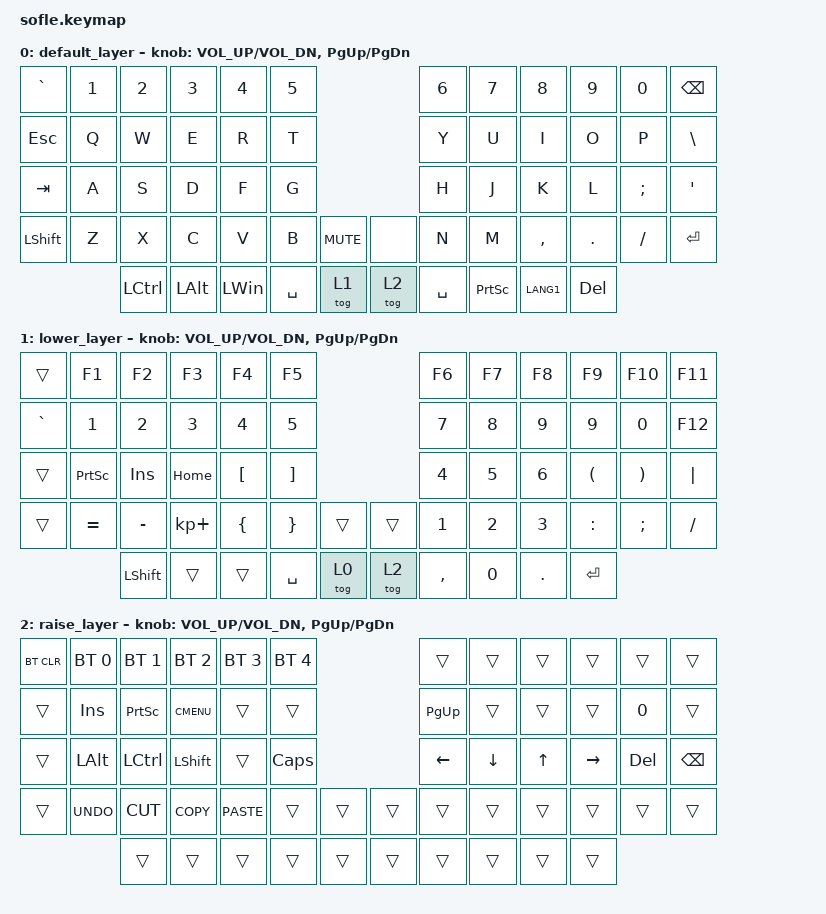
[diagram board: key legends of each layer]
/*
 * Copyright (c) 2020 The ZMK Contributors
 *
 * SPDX-License-Identifier: MIT
 */

#include <behaviors.dtsi>
#include <dt-bindings/zmk/bt.h>
#include <dt-bindings/zmk/keys.h>

/ {
    keymap {
        compatible = "zmk,keymap";

        default_layer {
            // ------------------------------------------------------------------------------------------------------------
            // |  `    |  1  |  2  |  3   |  4   |  5   |                   |  6   |  7    |  8    |  9   |   0   |       |
            // |  ESC  |  Q  |  W  |  E   |  R   |  T   |                   |  Y   |  U    |  I    |  O   |   P   | BKSPC |
            // |  TAB  |  A  |  S  |  D   |  F   |  G   |                   |  H   |  J    |  K    |  L   |   ;   |   '   |
            // | SHIFT |  Z  |  X  |  C   |  V   |  B   |  MUTE  |  |       |  N   |  M    |  ,    |  .   |   /   | SHIFT |
            //               | GUI | ALT  | CTRL | LOWER|  ENTER |  | SPACE | RAISE| CTRL  | ALT   | GUI  |

            bindings = <
&kp GRAVE  &kp N1  &kp N2            &kp N3    &kp N4    &kp N5                           &kp N6     &kp N7           &kp N8     &kp N9      &kp N0    &kp BACKSPACE
&kp ESC    &kp Q   &kp W             &kp E     &kp R     &kp T                            &kp Y      &kp U            &kp I      &kp O       &kp P     &kp BACKSLASH
&kp TAB    &kp A   &kp S             &kp D     &kp F     &kp G                            &kp H      &kp J            &kp K      &kp L       &kp SEMI  &kp SQT
&kp LSHFT  &kp Z   &kp X             &kp C     &kp V     &kp B      &kp C_MUTE    &none   &kp N      &kp M            &kp COMMA  &kp DOT     &kp FSLH  &kp ENTER
                   &kp LEFT_CONTROL  &kp LALT  &kp LWIN  &kp SPACE  &tog 1        &tog 2  &kp SPACE  &kp PRINTSCREEN  &kp LANG1  &kp DELETE
            >;

            sensor-bindings = <&inc_dec_kp C_VOL_UP C_VOL_DN &inc_dec_kp PG_UP PG_DN>;
        };

        lower_layer {
            // TODO: Some binds are waiting for shifted keycode support.
            // ------------------------------------------------------------------------------------------------------------
            // |       |  F1 |  F2 |  F3  |  F4  |  F5  |                   |  F6  |  F7   |  F8   |  F9  |  F10  |  F11  |
            // | `     |   1 |   2 |   3  |   4  |   5  |                   |   6  |   7   |   8   |   9  |    0  |  F12  |
            // |       |  !  |  @  |  #   |  $   |  %   |                   |  ^   |  &    |  *    |  (   |   )   |   |   |
            // |       |  =  |  -  |  +   |  {   |  }   |        |  |       |  [   |  ]    |  ;    |  :   |   \   |       |
            //               |     |      |      |      |        |  |       |      |       |       |      |

            bindings = <
&trans     &kp F1           &kp F2          &kp F3       &kp F4            &kp F5                               &kp F6        &kp F7        &kp F8        &kp F9     &kp F10   &kp F11
&kp GRAVE  &kp N1           &kp N2          &kp N3       &kp N4            &kp N5                               &kp N7        &kp N8        &kp N9        &kp N9     &kp N0    &kp F12
&trans     &kp PRINTSCREEN  &kp INS         &kp HOME     &kp LEFT_BRACKET  &kp RIGHT_BRACKET                    &kp NUMBER_4  &kp N5        &kp NUMBER_6  &kp LPAR   &kp RPAR  &kp PIPE
&trans     &kp EQUAL        &kp MINUS       &kp KP_PLUS  &kp LBRC          &kp RBRC           &trans    &trans  &kp NUMBER_1  &kp NUMBER_2  &kp NUMBER_3  &kp COLON  &kp SEMI  &kp SLASH
                            &kp LEFT_SHIFT  &trans       &trans            &kp SPACE          &tog 0    &tog 2  &kp COMMA     &kp N0        &kp DOT       &kp ENTER
            >;

            sensor-bindings = <&inc_dec_kp C_VOL_UP C_VOL_DN &inc_dec_kp PG_UP PG_DN>;
        };

        raise_layer {
            // ------------------------------------------------------------------------------------------------------------
            // |BTCLR| BT1  | BT2  |  BT3  |  BT4  |  BT5 |                |      |      |       |      |       |       |
            // |     | INS  | PSCR | GUI   |       |      |                | PGUP |      |       |      |       |       |
            // |     | ALT  | CTRL | SHIFT |       | CAPS |                |  <-  |   v  |   ^   |  ->  |  DEL  | BKSPC |
            // |     | UNDO | CUT  | COPY  | PASTE |      |      |  |      |      |      |       |      |       |       |
            //              |      |       |       |      |      |  |      |      |      |       |      |

            bindings = <
&bt BT_CLR  &bt BT_SEL 0  &bt BT_SEL 1  &bt BT_SEL 2  &bt BT_SEL 3  &bt BT_SEL 4                    &trans     &trans    &trans  &trans     &trans   &trans
&trans      &kp INS       &kp PSCRN     &kp K_CMENU   &trans        &trans                          &kp PG_UP  &trans    &trans  &trans     &kp N0   &trans
&trans      &kp LALT      &kp LCTRL     &kp LSHFT     &trans        &kp CLCK                        &kp LEFT   &kp DOWN  &kp UP  &kp RIGHT  &kp DEL  &kp BSPC
&trans      &kp K_UNDO    &kp K_CUT     &kp K_COPY    &kp K_PASTE   &trans        &trans    &trans  &trans     &trans    &trans  &trans     &trans   &trans
                          &trans        &trans        &trans        &trans        &trans    &trans  &trans     &trans    &trans  &trans
            >;

            sensor-bindings = <&inc_dec_kp C_VOL_UP C_VOL_DN &inc_dec_kp PG_UP PG_DN>;
        };
    };
};
